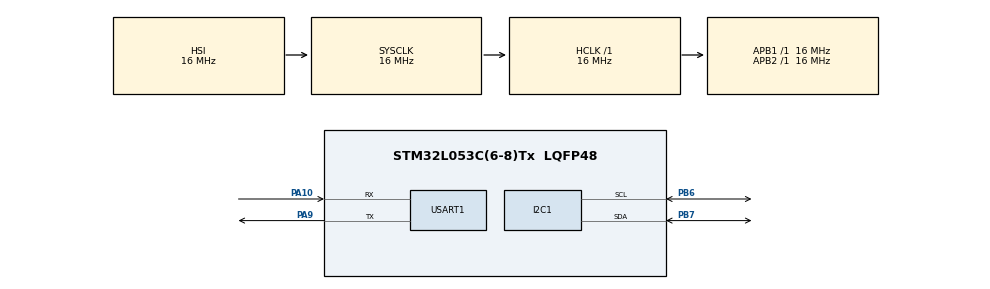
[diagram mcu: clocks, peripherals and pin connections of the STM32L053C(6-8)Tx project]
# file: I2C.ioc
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I2C1.Timing=0x00303D5B
Mcu.Family=STM32L0
Mcu.Name=STM32L053C(6-8)Tx
Mcu.Package=LQFP48
NVIC.RTC_IRQn=true\:0\:0\:false\:false\:true\:true\:true\:true
PA10.Mode=Asynchronous
PA10.Signal=USART1_RX
PA13.Mode=Serial_Wire
PA13.Signal=SYS_SWDIO
PA14.Mode=Serial_Wire
PA14.Signal=SYS_SWCLK
PA9.Mode=Asynchronous
PA9.Signal=USART1_TX
PB6.GPIO_Pu=GPIO_PULLUP
PB6.Mode=I2C
PB6.Signal=I2C1_SCL
PB7.GPIO_Pu=GPIO_PULLUP
PB7.Mode=I2C
PB7.Signal=I2C1_SDA
PC14-OSC32_IN.Mode=LSE-External-Oscillator
PC14-OSC32_IN.Signal=RCC_OSC32_IN
PC15-OSC32_OUT.Mode=LSE-External-Oscillator
PC15-OSC32_OUT.Signal=RCC_OSC32_OUT
PH0-OSC_IN.Mode=HSE-External-Oscillator
PH0-OSC_IN.Signal=RCC_OSC_IN
PH1-OSC_OUT.Mode=HSE-External-Oscillator
PH1-OSC_OUT.Signal=RCC_OSC_OUT
ProjectManager.HeapSize=0x200
ProjectManager.StackSize=0x400
ProjectManager.TargetToolchain=STM32CubeIDE
RCC.AHBFreq_Value=16000000
RCC.APB1Freq_Value=16000000
RCC.APB1TimFreq_Value=16000000
RCC.APB2Freq_Value=16000000
RCC.APB2TimFreq_Value=16000000
RCC.HCLKFreq_Value=16000000
RCC.HSE_VALUE=8000000
RCC.HSI16_VALUE=16000000
RCC.HSI48MClockSelection=RCC_USBCLKSOURCE_HSI48
RCC.HSI48_VALUE=48000000
RCC.HSI_VALUE=16000000
RCC.I2c1ClockSelection=RCC_I2C1CLKSOURCE_HSI
RCC.MSI_VALUE=2097000
RCC.PLLMUL=RCC_PLLMUL_8
RCC.RTCClockSelection=RCC_RTCCLKSOURCE_LSI
RCC.RTCClockSelectionVirtual=RCC_RTCCLKSOURCE_LSE
RCC.SYSCLKFreq_VALUE=16000000
RCC.SYSCLKSource=RCC_SYSCLKSOURCE_HSI
RCC.Usart1ClockSelection=RCC_USART1CLKSOURCE_HSI
RCC.VCOOutputFreq_Value=128000000
RTC.Alarm-Alarm\ A=RTC_ALARM_A
RTC.AlarmDateWeekDay-Alarm\ A=13
RTC.AlarmMaskMinutes-Alarm\ A=RTC_ALARMMASK_MINUTES
RTC.Date=13
RTC.Hours=11
RTC.Hours_A-Alarm\ A=11
RTC.Minutes=0
RTC.Minutes_A-Alarm\ A=1
RTC.Month=RTC_MONTH_JUNE
RTC.Seconds=11
RTC.Seconds_A-Alarm\ A=0
RTC.WeekDay=RTC_WEEKDAY_TUESDAY
RTC.Year=23
USART1.VirtualMode-Asynchronous=VM_ASYNC
VP_RTC_VS_RTC_Activate.Mode=RTC_Enabled
VP_RTC_VS_RTC_Alarm_A_Intern.Mode=Alarm A
VP_RTC_VS_RTC_Calendar.Mode=RTC_Calendar
board=STM32L0538-DISCO

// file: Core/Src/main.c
/* USER CODE BEGIN Header */
/**
 ******************************************************************************
 * @file           : main.c
 * @brief          : Main program body
 ******************************************************************************
 * @attention
 *
 * Copyright (c) 2023 STMicroelectronics.
 * All rights reserved.
 *
 * This software is licensed under terms that can be found in the LICENSE file
 * in the root directory of this software component.
 * If no LICENSE file comes with this software, it is provided AS-IS.
 *
 ******************************************************************************
 */
/* USER CODE END Header */
#include "main.h"

/* USER CODE BEGIN Includes */
#include "stdio.h"
#include <string.h>
#include "sht21.h"
RTC_TimeTypeDef sTime;
RTC_DateTypeDef sDate;
/* USER CODE END Includes */

I2C_HandleTypeDef hi2c1;

RTC_HandleTypeDef hrtc;

UART_HandleTypeDef huart1;

/* USER CODE BEGIN PV */
uint8_t Tx[20] = "hello World\r\n";
uint8_t date[30];
uint8_t time[30];
uint8_t flag = 0;
/* USER CODE END PV */

void SystemClock_Config(void);
static void MX_GPIO_Init(void);
static void MX_I2C1_Init(void);
static void MX_USART1_UART_Init(void);
static void MX_RTC_Init(void);

int main(void)
{
  /* USER CODE BEGIN 1 */

//	 uint8_t i = 0, ret;
//	 uint8_t Buffer[25] = {0};
//	 uint8_t Space[] = " - ";
//	 uint8_t StartMSG[] = "Starting I2C Scanning: \r\n";
//	 uint8_t EndMSG[] = "Done! \r\n\r\n";
  /* USER CODE END 1 */

  /* MCU Configuration--------------------------------------------------------*/

  /* Reset of all peripherals, Initializes the Flash interface and the Systick. */
  HAL_Init();

  /* Configure the system clock */
  SystemClock_Config();

  /* Initialize all configured peripherals */
  MX_GPIO_Init();
  MX_I2C1_Init();
  MX_USART1_UART_Init();
  MX_RTC_Init();
  /* USER CODE BEGIN 2 */

	/*-[ I2C Bus Scanning ]-*/
//  HAL_UART_Transmit(&huart1, StartMSG, sizeof(StartMSG), 10000);
//  for(i=1; i<128; i++)
//  {
//      ret = HAL_I2C_IsDeviceReady(&hi2c1, (uint16_t)(i<<1), 3, 5);
//      if (ret != HAL_OK) /* No ACK Received At That Address */
//      {
//          HAL_UART_Transmit(&huart1, Space, sizeof(Space), 10000);
//      }
//      else if(ret == HAL_OK)
//      {
//          sprintf(Buffer, "0x%X", i);
//          HAL_UART_Transmit(&huart1, Buffer, sizeof(Buffer), 10000);
//      }
//  }
//  HAL_UART_Transmit(&huart1, EndMSG, sizeof(EndMSG), 10000);
	/*--[ Scanning Done ]--*/

	SHT2x_Init(&hi2c1);
	SHT2x_SetResolution(RES_14_12);
  /* USER CODE END 2 */

  /* Infinite loop */
	while (1) {

    /* USER CODE BEGIN 3 */
//		printf("hello_world!\r\n");
//		HAL_UART_Transmit(&huart1, Tx, sizeof(Tx), 1000);

		HAL_RTC_GetTime(&hrtc, &sTime, RTC_FORMAT_BIN);
		HAL_RTC_GetDate(&hrtc, &sDate, RTC_FORMAT_BIN);

		sprintf(time, "Time: %02d.%02d.%02d\r\n", sTime.Hours, sTime.Minutes,sTime.Seconds);

		sprintf(date, "Date: %02d.%02d.%02d\t", sDate.Date, sDate.Month,sDate.Year);

		HAL_UART_Transmit(&huart1, (uint8_t*) date, sizeof(date), 300);
		HAL_UART_Transmit(&huart1, (uint8_t*) time, sizeof(time), 300);
		HAL_Delay(1000);

if (flag ==1){
	unsigned char buffer[100] = { 0 };
					/* Gets current temperature & relative humidity. */
					float cel = SHT2x_GetTemperature(1);
					/* Converts temperature to degrees Fahrenheit and Kelvin */
					float fah = SHT2x_CelsiusToFahrenheit(cel);
					float kel = SHT2x_CelsiusToKelvin(cel);
					float rh = SHT2x_GetRelativeHumidity(1);
					/* May show warning below. Ignore and proceed. */
					sprintf(buffer, "%d.%dºC, %d.%dºF, %d.%d K, %d.%d%% RH\n",
							SHT2x_GetInteger(cel), SHT2x_GetDecimal(cel, 1),
							SHT2x_GetInteger(fah), SHT2x_GetDecimal(fah, 1),
							SHT2x_GetInteger(kel), SHT2x_GetDecimal(kel, 1),
							SHT2x_GetInteger(rh), SHT2x_GetDecimal(rh, 1));
					HAL_UART_Transmit(&huart1, buffer, strlen(buffer), 1000);
					HAL_Delay(250);
					flag =0;
}

	}
  /* USER CODE END 3 */
}

void SystemClock_Config(void)
{
  RCC_OscInitTypeDef RCC_OscInitStruct = {0};
  RCC_ClkInitTypeDef RCC_ClkInitStruct = {0};
  RCC_PeriphCLKInitTypeDef PeriphClkInit = {0};

  /** Configure the main internal regulator output voltage
  */
  __HAL_PWR_VOLTAGESCALING_CONFIG(PWR_REGULATOR_VOLTAGE_SCALE1);

  /** Initializes the RCC Oscillators according to the specified parameters
  * in the RCC_OscInitTypeDef structure.
  */
  RCC_OscInitStruct.OscillatorType = RCC_OSCILLATORTYPE_HSI|RCC_OSCILLATORTYPE_LSI;
  RCC_OscInitStruct.HSIState = RCC_HSI_ON;
  RCC_OscInitStruct.HSICalibrationValue = RCC_HSICALIBRATION_DEFAULT;
  RCC_OscInitStruct.LSIState = RCC_LSI_ON;
  RCC_OscInitStruct.PLL.PLLState = RCC_PLL_NONE;
  if (HAL_RCC_OscConfig(&RCC_OscInitStruct) != HAL_OK)
  {
    Error_Handler();
  }

  /** Initializes the CPU, AHB and APB buses clocks
  */
  RCC_ClkInitStruct.ClockType = RCC_CLOCKTYPE_HCLK|RCC_CLOCKTYPE_SYSCLK
                              |RCC_CLOCKTYPE_PCLK1|RCC_CLOCKTYPE_PCLK2;
  RCC_ClkInitStruct.SYSCLKSource = RCC_SYSCLKSOURCE_HSI;
  RCC_ClkInitStruct.AHBCLKDivider = RCC_SYSCLK_DIV1;
  RCC_ClkInitStruct.APB1CLKDivider = RCC_HCLK_DIV1;
  RCC_ClkInitStruct.APB2CLKDivider = RCC_HCLK_DIV1;

  if (HAL_RCC_ClockConfig(&RCC_ClkInitStruct, FLASH_LATENCY_0) != HAL_OK)
  {
    Error_Handler();
  }
  PeriphClkInit.PeriphClockSelection = RCC_PERIPHCLK_USART1|RCC_PERIPHCLK_I2C1
                              |RCC_PERIPHCLK_RTC;
  PeriphClkInit.Usart1ClockSelection = RCC_USART1CLKSOURCE_HSI;
  PeriphClkInit.I2c1ClockSelection = RCC_I2C1CLKSOURCE_HSI;
  PeriphClkInit.RTCClockSelection = RCC_RTCCLKSOURCE_LSI;
  if (HAL_RCCEx_PeriphCLKConfig(&PeriphClkInit) != HAL_OK)
  {
    Error_Handler();
  }
}

static void MX_I2C1_Init(void)
{

  hi2c1.Instance = I2C1;
  hi2c1.Init.Timing = 0x00303D5B;
  hi2c1.Init.OwnAddress1 = 0;
  hi2c1.Init.AddressingMode = I2C_ADDRESSINGMODE_7BIT;
  hi2c1.Init.DualAddressMode = I2C_DUALADDRESS_DISABLE;
  hi2c1.Init.OwnAddress2 = 0;
  hi2c1.Init.OwnAddress2Masks = I2C_OA2_NOMASK;
  hi2c1.Init.GeneralCallMode = I2C_GENERALCALL_DISABLE;
  hi2c1.Init.NoStretchMode = I2C_NOSTRETCH_DISABLE;
  if (HAL_I2C_Init(&hi2c1) != HAL_OK)
  {
    Error_Handler();
  }

  /** Configure Analogue filter
  */
  if (HAL_I2CEx_ConfigAnalogFilter(&hi2c1, I2C_ANALOGFILTER_ENABLE) != HAL_OK)
  {
    Error_Handler();
  }

  /** Configure Digital filter
  */
  if (HAL_I2CEx_ConfigDigitalFilter(&hi2c1, 0) != HAL_OK)
  {
    Error_Handler();
  }

}

static void MX_RTC_Init(void)
{

  RTC_TimeTypeDef sTime = {0};
  RTC_DateTypeDef sDate = {0};
  RTC_AlarmTypeDef sAlarm = {0};

  /** Initialize RTC Only
  */
  hrtc.Instance = RTC;
  hrtc.Init.HourFormat = RTC_HOURFORMAT_24;
  hrtc.Init.AsynchPrediv = 127;
  hrtc.Init.SynchPrediv = 255;
  hrtc.Init.OutPut = RTC_OUTPUT_DISABLE;
  hrtc.Init.OutPutRemap = RTC_OUTPUT_REMAP_NONE;
  hrtc.Init.OutPutPolarity = RTC_OUTPUT_POLARITY_HIGH;
  hrtc.Init.OutPutType = RTC_OUTPUT_TYPE_OPENDRAIN;
  if (HAL_RTC_Init(&hrtc) != HAL_OK)
  {
    Error_Handler();
  }

  /** Initialize RTC and set the Time and Date
  */
  sTime.Hours = 0x11;
  sTime.Minutes = 0x0;
  sTime.Seconds = 0x11;
  sTime.DayLightSaving = RTC_DAYLIGHTSAVING_NONE;
  sTime.StoreOperation = RTC_STOREOPERATION_RESET;
  if (HAL_RTC_SetTime(&hrtc, &sTime, RTC_FORMAT_BCD) != HAL_OK)
  {
    Error_Handler();
  }
  sDate.WeekDay = RTC_WEEKDAY_TUESDAY;
  sDate.Month = RTC_MONTH_JUNE;
  sDate.Date = 0x13;
  sDate.Year = 0x23;

  if (HAL_RTC_SetDate(&hrtc, &sDate, RTC_FORMAT_BCD) != HAL_OK)
  {
    Error_Handler();
  }

  /** Enable the Alarm A
  */
  sAlarm.AlarmTime.Hours = 0x11;
  sAlarm.AlarmTime.Minutes = 0x1;
  sAlarm.AlarmTime.Seconds = 0x0;
  sAlarm.AlarmTime.SubSeconds = 0x0;
  sAlarm.AlarmTime.DayLightSaving = RTC_DAYLIGHTSAVING_NONE;
  sAlarm.AlarmTime.StoreOperation = RTC_STOREOPERATION_RESET;
  sAlarm.AlarmMask = RTC_ALARMMASK_MINUTES;
  sAlarm.AlarmSubSecondMask = RTC_ALARMSUBSECONDMASK_ALL;
  sAlarm.AlarmDateWeekDaySel = RTC_ALARMDATEWEEKDAYSEL_DATE;
  sAlarm.AlarmDateWeekDay = 0x13;
  sAlarm.Alarm = RTC_ALARM_A;
  if (HAL_RTC_SetAlarm_IT(&hrtc, &sAlarm, RTC_FORMAT_BCD) != HAL_OK)
  {
    Error_Handler();
  }

}

static void MX_USART1_UART_Init(void)
{

  huart1.Instance = USART1;
  huart1.Init.BaudRate = 115200;
  huart1.Init.WordLength = UART_WORDLENGTH_8B;
  huart1.Init.StopBits = UART_STOPBITS_1;
  huart1.Init.Parity = UART_PARITY_NONE;
  huart1.Init.Mode = UART_MODE_TX_RX;
  huart1.Init.HwFlowCtl = UART_HWCONTROL_NONE;
  huart1.Init.OverSampling = UART_OVERSAMPLING_16;
  huart1.Init.OneBitSampling = UART_ONE_BIT_SAMPLE_DISABLE;
  huart1.AdvancedInit.AdvFeatureInit = UART_ADVFEATURE_NO_INIT;
  if (HAL_UART_Init(&huart1) != HAL_OK)
  {
    Error_Handler();
  }

}

static void MX_GPIO_Init(void)
{

  /* GPIO Ports Clock Enable */
  __HAL_RCC_GPIOC_CLK_ENABLE();
  __HAL_RCC_GPIOH_CLK_ENABLE();
  __HAL_RCC_GPIOA_CLK_ENABLE();
  __HAL_RCC_GPIOB_CLK_ENABLE();

}

/* USER CODE BEGIN 4 */
void HAL_RTC_AlarmAEventCallback(RTC_HandleTypeDef *hrtc) {
	flag =1;

}

/* USER CODE END 4 */

void Error_Handler(void)
{
	__disable_irq();
	while (1) {
	}
}
